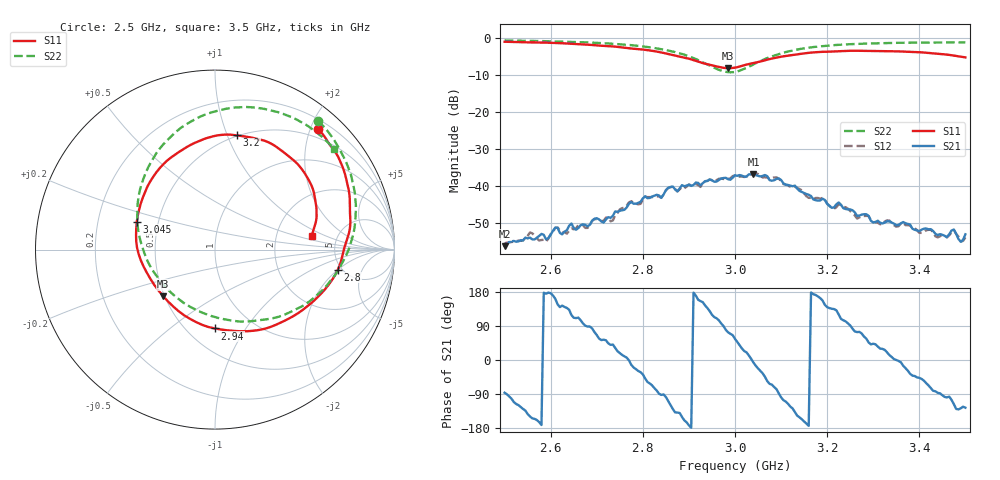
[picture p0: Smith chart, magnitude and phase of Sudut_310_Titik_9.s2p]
# Hz S RI R 50
! CMT, C1220, 16058040, 17.2.0/1
! Date: 15/08/2018 09:50:36
! Data: Format (Calibration Info)
! Freq  S11: Re/Im (F2)  S21: Re/Im (F2)  S12: Re/Im (F2)  S22: Re/Im (F2)
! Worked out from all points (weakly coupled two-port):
!   201 points, 2.5 GHz to 3.5 GHz, reference 50 ohm
!   highest |S21| = -36.72 dB at 3.04 GHz (marker M1); lowest = -56.2 dB at 2.5 GHz (marker M2)
!   lowest |S11| = -8.2 dB at 2.985 GHz (marker M3), VSWR 2.27, Z = 24.6 - j15 ohm
!   |S11| at or under -10 dB: nowhere
!   |S22| runs from -9.3 to -0.7 dB; largest |S21 - S12| = 0.0012
!   S11 on the Smith chart (normalised r, x): 2.5 GHz: 0.35, +2.13; 2.8 GHz: 4.64, -1.99; 2.94 GHz: 0.68, -0.74; 3.045 GHz: 0.38, +0.15; 3.2 GHz: 0.49, +1.08; 3.5 GHz: 3.21, +0.70
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2.5e9  0.5758 0.6706  9.72e-05 -0.00154  0.000136 -0.00168  0.5754 0.7176
2.555e9  0.6405 0.583  -0.00172 -0.00104  -0.00194 -0.00134  0.6363 0.649
2.59e9  0.6854 0.5185  -0.00189 0.000172  -0.00178 4.93e-06  0.6727 0.5962
2.61e9  0.7027 0.4795  -0.0026 0.000871  -0.00261 0.00076  0.6927 0.562
2.625e9  0.7169 0.4442  -0.00179 0.00132  -0.00178 0.00154  0.7065 0.5359
2.67e9  0.7456 0.3292  -0.000354 0.00301  -0.000105 0.00296  0.7475 0.4451
2.735e9  0.753 0.1314  0.003 0.00259  0.00264 0.00218  0.7817 0.2776
2.8e9  0.6846 -0.1111  0.00536 -0.00418  0.00524 -0.00386  0.7627 0.0576
2.835e9  0.5968 -0.2393  0.000141 -0.00745  0.000348 -0.00721  0.7052 -0.0798
2.94e9  5.09e-05 -0.4396  -0.00857 0.00794  -0.0088 0.00776  0.1748 -0.4012
2.985e9  -0.2886 -0.2597  0.0036 0.0118  0.00316 0.0121  -0.1773 -0.2948
3e9  -0.3609 -0.1613  0.00783 0.0115  0.00851 0.0111  -0.2774 -0.2058
3.04e9  -0.4388 0.1184  0.0145 -0.00171  0.0148 -0.00112  -0.4262 0.0963
3.045e9  -0.4359 0.1537  0.0135 -0.00363  0.0144 -0.00362  -0.4317 0.1374
3.105e9  -0.2702 0.4929  -0.00297 -0.0104  -0.00313 -0.0101  -0.3263 0.538
3.17e9  0.00622 0.6351  -0.00654 0.00072  -0.00664 0.000234  -0.0709 0.7457
3.2e9  0.1208 0.6365  -0.00435 0.00373  -0.00425 0.00396  0.0428 0.7804
3.335e9  0.4758 0.4585  0.00325 0.000756  0.00337 0.000591  0.4174 0.7415
3.44e9  0.5654 0.2259  0.000129 -0.00217  0.000196 -0.00202  0.5941 0.6305
3.475e9  0.5576 0.1388  -0.00116 -0.00231  -0.0011 -0.00229  0.6368 0.5896
3.49e9  0.5465 0.1003  -0.00107 -0.00141  -0.00119 -0.00133  0.654 0.5706
3.5e9  0.5381 0.0763  -0.00131 -0.00181  -0.0013 -0.00156  0.6654 0.5578
